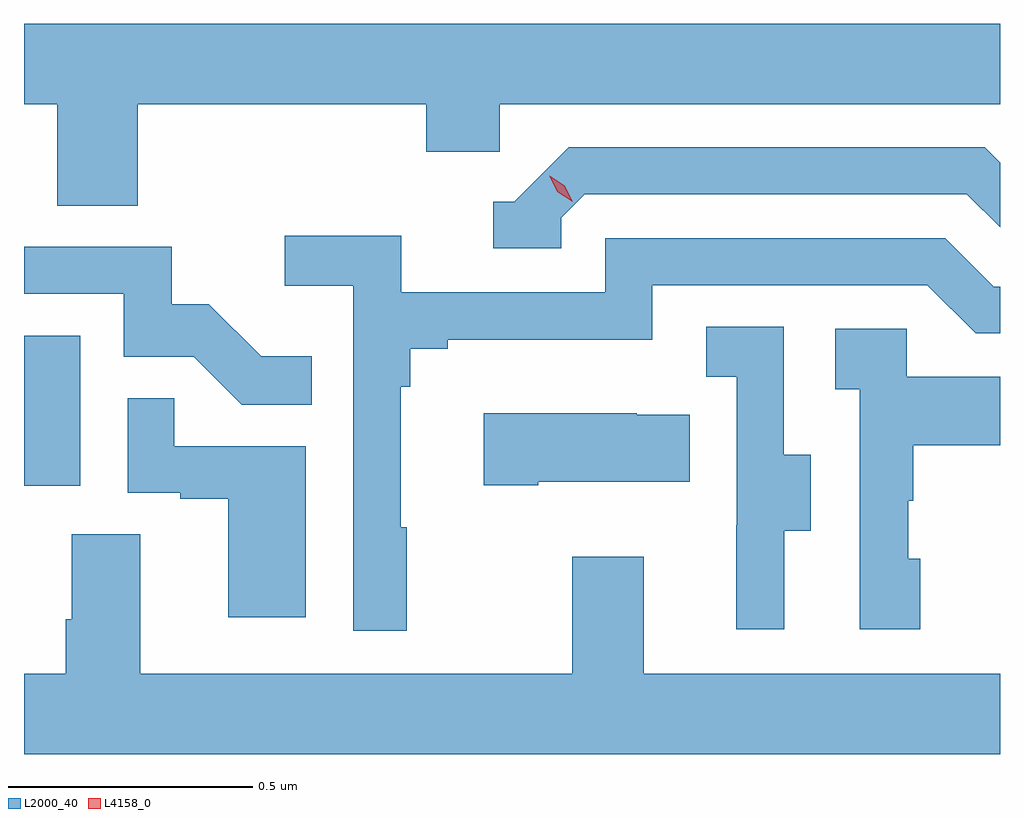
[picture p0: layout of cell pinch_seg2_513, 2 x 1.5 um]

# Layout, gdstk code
import gdstk
lib = gdstk.Library(unit=1e-6, precision=1e-09)
def R(c, l, rs):  # rectangles x0, y0, x1, y1
    for r in rs: c.add(gdstk.rectangle(r[:2], r[2:], *l))
def P(c, l, *ps):  # polygons
    for p in ps: c.add(gdstk.Polygon(p, *l))
L2000_40 = (2000, 40)
L4158_0 = (4158, 0)

pinch_seg2_513 = lib.new_cell('pinch_seg2_513')
R(pinch_seg2_513, L2000_40, [(953.247,596.238,953.362,596.545)])
P(pinch_seg2_513, L2000_40, [(953.48,597.02),(954.071,597.02),(954.071,596.922),(954.222,596.922),(954.222,597.02),(955.247,597.02),(955.247,597.184),(953.247,597.184),(953.247,597.02),(953.315,597.02),(953.315,596.812),(953.48,596.812)],
  [(954.348,596.787),(954.396,596.835),(955.179,596.835),(955.247,596.767),(955.247,596.9),(955.216,596.931),(954.363,596.931),(954.252,596.82),(954.209,596.82),(954.209,596.724),(954.348,596.724)],
  [(954.031,596.153),(954.019,596.153),(954.019,596.441),(954.038,596.441),(954.038,596.518),(954.115,596.518),(954.115,596.537),(954.534,596.537),(954.534,596.649),(955.098,596.649),(955.197,596.55),(955.247,596.55),(955.247,596.646),(955.234,596.646),(955.135,596.745),(954.438,596.745),(954.438,596.634),(954.02,596.634),(954.02,596.75),(953.781,596.75),(953.781,596.648),(953.922,596.648),(953.922,595.941),(954.031,595.941)],
  [(953.837,596.503),(953.733,596.503),(953.626,596.61),(953.55,596.61),(953.55,596.727),(953.247,596.727),(953.247,596.631),(953.451,596.631),(953.451,596.502),(953.595,596.502),(953.693,596.404),(953.837,596.404)],
  [(954.805,596.146),(954.859,596.146),(954.859,596.301),(954.804,596.301),(954.804,596.564),(954.645,596.564),(954.645,596.461),(954.708,596.461),(954.708,596.157),(954.707,596.157),(954.707,595.944),(954.805,595.944)],
  [(955.084,596.088),(955.059,596.088),(955.059,596.207),(955.069,596.207),(955.069,596.321),(955.247,596.321),(955.247,596.461),(955.056,596.461),(955.056,596.559),(954.909,596.559),(954.909,596.435),(954.96,596.435),(954.96,595.944),(955.084,595.944)],
  [(953.824,596.319),(953.555,596.319),(953.555,596.417),(953.46,596.417),(953.46,596.223),(953.567,596.223),(953.567,596.211),(953.666,596.211),(953.666,595.968),(953.824,595.968)],
  [(954.301,596.246),(954.611,596.246),(954.611,596.383),(954.503,596.383),(954.503,596.386),(954.189,596.386),(954.189,596.239),(954.301,596.239)],
  [(955.247,595.852),(954.517,595.852),(954.517,596.092),(954.37,596.092),(954.37,595.852),(953.485,595.852),(953.485,596.138),(953.345,596.138),(953.345,595.964),(953.333,595.964),(953.333,595.852),(953.247,595.852),(953.247,595.688),(955.247,595.688)])
P(pinch_seg2_513, L4158_0, [(954.371,596.82),(954.34,596.84),(954.324,596.872),(954.324,596.873),(954.324,596.873),(954.355,596.853),(954.371,596.82),(954.371,596.82)])

lib.write_gds('pinch_seg2_513.gds')
